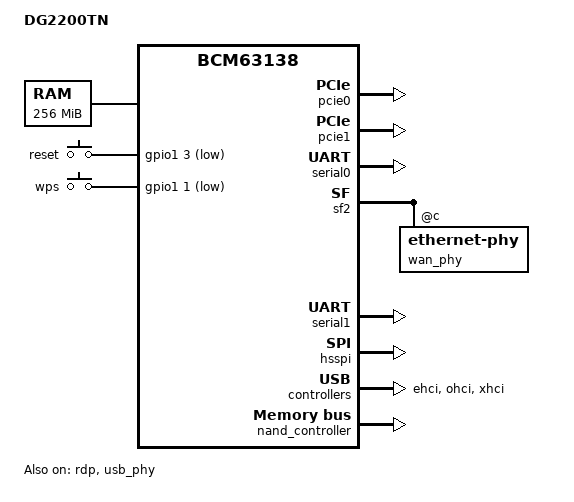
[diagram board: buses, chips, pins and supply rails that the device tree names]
// SPDX-License-Identifier: GPL-2.0
/*
 * DG2200TN DSL gateway (BCM63138B0)
 *
 * Stage 1 bring-up DTS: console + NAND only.
 * Ethernet (bcmsysport), PCIe and the LAN switch are not described yet
 * because their register maps are not in mainline; they must be harvested
 * from the running vendor kernel (/proc/iomem, /proc/interrupts).
 */

/dts-v1/;

#include <dt-bindings/gpio/gpio.h>
#include <dt-bindings/input/input.h>
#include "bcm63138.dtsi"

/ {
	compatible = "brcm,bcm63138", "brcm,bcmbca";
	model = "DG2200TN";

	chosen {
		bootargs = "console=ttyS0,115200 earlyprintk";
		stdout-path = &serial0;
	};

	/*
	 * The board has 512 MB, but CFE carves out MC/TM/DHD reservations
	 * (4 + 44 + 14 MB) from the top. Only 256 MB is claimed here so the
	 * first RAM boot cannot collide with those regions.
	 */
	memory@0 {
		device_type = "memory";
		reg = <0x0 0x10000000>;
	};

	misc: syscon@fffe8180 {
		compatible = "syscon";
		reg = <0xfffe8180 0x80>;
	};

	buttons {
		compatible = "gpio-keys-polled";
		poll-interval = <20>;

		reset {
			label = "reset";
			linux,code = <KEY_RESTART>;
			gpios = <&gpio1 3 GPIO_ACTIVE_LOW>;
			debounce-interval = <60>;
		};

		wps {
			label = "wps";
			linux,code = <KEY_WPS_BUTTON>;
			gpios = <&gpio1 1 GPIO_ACTIVE_LOW>;
			debounce-interval = <60>;
		};
	};

	pcie0: pcie@80060000 {
		compatible = "brcm,bcm63138-pcie";
		reg = <0x80060000 0x10000>;
		power-domains = <&pmb0 BCM_PMB_PCIE0>;
		brcm,misc = <&misc>;
		brcm,pcie-index = <0>;
		device_type = "pci";
		#address-cells = <3>;
		#size-cells = <2>;
		#interrupt-cells = <1>;
		bus-range = <0x0 0xff>;
		ranges = <0x02000000 0x0 0x90000000
			  0x90000000 0x0 0x10000000>;
		dma-ranges = <0x02000000 0x0 0x00000000
			      0x00000000 0x0 0x20000000>;
		interrupt-map-mask = <0x0 0x0 0x0 0x7>;
		interrupt-map = <0x0 0x0 0x0 0x1 &gic
				 GIC_SPI 60 IRQ_TYPE_LEVEL_HIGH>;
	};

	pcie1: pcie@80070000 {
		compatible = "brcm,bcm63138-pcie";
		reg = <0x80070000 0x10000>;
		power-domains = <&pmb0 BCM_PMB_PCIE1>;
		brcm,misc = <&misc>;
		brcm,pcie-index = <1>;
		device_type = "pci";
		#address-cells = <3>;
		#size-cells = <2>;
		#interrupt-cells = <1>;
		bus-range = <0x0 0xff>;
		ranges = <0x02000000 0x0 0xa0000000
			  0xa0000000 0x0 0x10000000>;
		dma-ranges = <0x02000000 0x0 0x00000000
			      0x00000000 0x0 0x20000000>;
		interrupt-map-mask = <0x0 0x0 0x0 0x7>;
		interrupt-map = <0x0 0x0 0x0 0x1 &gic
				 GIC_SPI 61 IRQ_TYPE_LEVEL_HIGH>;
	};

	reserved-memory {
		#address-cells = <1>;
		#size-cells = <1>;
		ranges;

		rdp_dma_pool: rdp-dma-pool {
			compatible = "shared-dma-pool";
			reg = <0x0d000000 0x01800000>;
			reusable;
		};
	};
};

&serial0 {
	status = "okay";
};

&rdp {
	memory-region = <&rdp_dma_pool>;
	brcm,sf2 = <&sf2>;
	phy-handle = <&wan_phy>;
	phy-mode = "gmii";
	status = "okay";
};

&sf2 {
	#address-cells = <1>;
	#size-cells = <0>;
	status = "okay";

	wan_phy: ethernet-phy@c {
		reg = <12>;
	};
};

&serial1 {
	status = "okay";
};

&hsspi {
	status = "okay";
};

&usb_phy {
	status = "okay";
};

&ehci {
	status = "okay";
};

&ohci {
	status = "okay";
};

&xhci {
	status = "okay";
};

&nand_controller {
	brcm,wp-not-connected;
	status = "okay";
};

/*
 * Hynix 0xadda, 256 MB, 2048-byte pages, 128 KB erase blocks,
 * 64-byte spare = 4 sectors x 16 bytes, BCH-4.
 *
 * Deliberately no nand-on-flash-bbt: CFE maintains its own bad block table
 * in a Broadcom-specific format, and letting Linux write a BBT of its own
 * clobbers the last eraseblocks of the chip. Scan in memory each boot instead.
 */
&nandcs {
	nand-ecc-strength = <4>;
	nand-ecc-step-size = <512>;
	brcm,nand-oob-sector-size = <16>;

	partitions {
		compatible = "fixed-partitions";
		#address-cells = <1>;
		#size-cells = <1>;

		partition@0 {
			label = "cfe";
			reg = <0x00000000 0x00020000>;
			read-only;
		};

		partition@20000 {
			label = "boot";
			reg = <0x00020000 0x00420000>;
		};

		partition@440000 {
			label = "ubi-bank1";
			/*
			 * The stock firmware image reserves 0x040c0000 bytes
			 * after bootfs for the root UBI image. Keep the remainder
			 * of CFE partition 1 outside this MTD device so stale stock
			 * UBI layout blocks cannot override an installed image.
			 */
			reg = <0x00440000 0x040c0000>;
		};

		partition@4500000 {
			label = "boot-bank2";
			reg = <0x04500000 0x00520000>;
			read-only;
		};

		partition@4a20000 {
			label = "ubi-bank2";
			reg = <0x04a20000 0x03fc0000>;
		};

		partition@89e0000 {
			label = "bank2-tail";
			reg = <0x089e0000 0x00020000>;
			read-only;
		};

		partition@8a00000 {
			label = "persistent-ubi-writable";
			/*
			 * Header scan: image_seq 1623297617 starts at 0x08a00000
			 * and continues through 896 PEBs to 0x0fa00000.
			 * This device contains the user (/cfg), ext and perm
			 * volumes used by the stock firmware.
			 */
			reg = <0x08a00000 0x07000000>;
		};

		partition@fa00000 {
			label = "nand-tail";
			reg = <0x0fa00000 0x00600000>;
			read-only;
		};
	};
};
